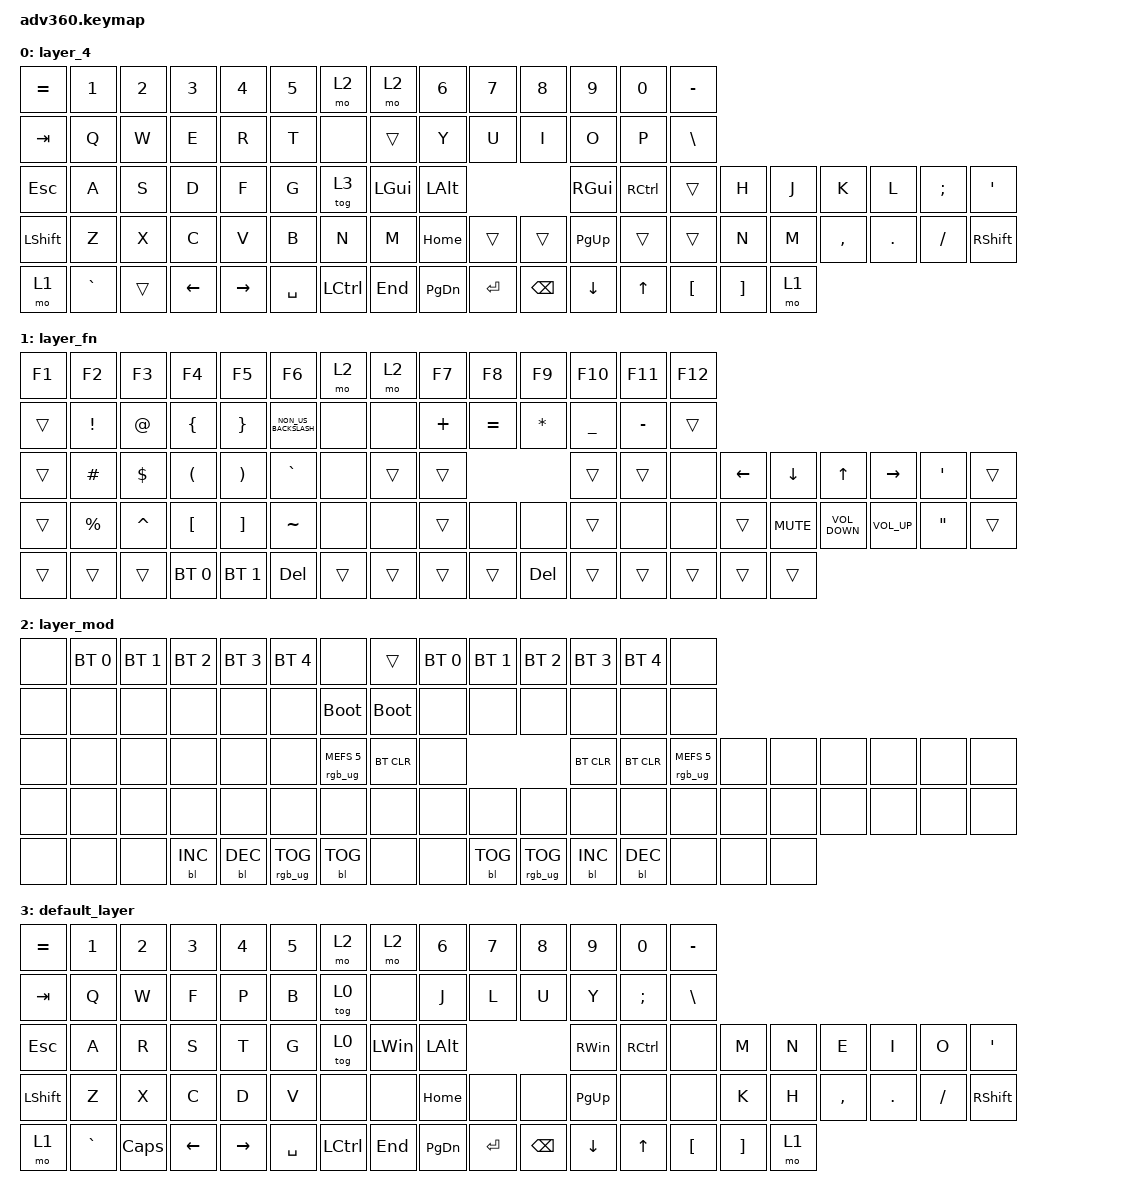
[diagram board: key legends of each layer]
/*
 * Copyright (c) 2020 The ZMK Contributors
 *
 * SPDX-License-Identifier: MIT
 */
/* THIS FILE WAS GENERATED!
 *
 * This file was generated automatically. You may or may not want to
 * edit it directly.
 */

#include <behaviors.dtsi>
#include <dt-bindings/zmk/backlight.h>
#include <dt-bindings/zmk/bt.h>
#include <dt-bindings/zmk/keys.h>
#include <dt-bindings/zmk/rgb.h>

/ {
    behaviors {
        #include "macros.dtsi"

        hm: homerow_mods {
            compatible = "zmk,behavior-hold-tap";
            label = "HOMEROW_MODS";
            #binding-cells = <2>;
            tapping-term-ms = <200>;
            quick_tap_ms = <175>;
            flavor = "tap-preferred";
            bindings = <&kp>, <&kp>;
        };
    };

    combos {
        compatible = "zmk,combos";

        combo_shifts_caps_lock {
            bindings = <&kp CAPSLOCK>;
            key-positions = <46 65>;
            layers = <3>;
            timeout-ms = <200>;
        };
    };

    keymap {
        compatible = "zmk,keymap";

        layer_4 {
            bindings = <
&kp EQUAL  &kp N1     &kp N2  &kp N3    &kp N4     &kp N5     &mo 2      &mo 2     &kp N6     &kp N7   &kp N8    &kp N9     &kp N0     &kp MINUS
&kp TAB    &kp Q      &kp W   &kp E     &kp R      &kp T      &none      &trans    &kp Y      &kp U    &kp I     &kp O      &kp P      &kp BSLH
&kp ESC    &kp A      &kp S   &kp D     &kp F      &kp G      &tog 3     &kp LGUI  &kp LALT                      &kp RGUI   &kp RCTRL  &trans            &kp H              &kp J  &kp K      &kp L    &kp SEMI  &kp SQT
&kp LSHFT  &kp Z      &kp X   &kp C     &kp V      &kp B      &kp N      &kp M     &kp HOME   &trans   &trans    &kp PG_UP  &trans     &trans            &kp N              &kp M  &kp COMMA  &kp DOT  &kp FSLH  &kp RSHFT
&mo 1      &kp GRAVE  &trans  &kp LEFT  &kp RIGHT  &kp SPACE  &kp LCTRL  &kp END   &kp PG_DN  &kp RET  &kp BSPC  &kp DOWN   &kp UP     &kp LEFT_BRACKET  &kp RIGHT_BRACKET  &mo 1
            >;
        };

        layer_fn {
            bindings = <
&kp F1  &kp F2           &kp F3       &kp F4                &kp F5                 &kp F6                &mo 2   &mo 2   &kp F7    &kp F8     &kp F9        &kp F10         &kp F11    &kp F12
&trans  &kp EXCLAMATION  &kp AT_SIGN  &kp LEFT_BRACE        &kp RIGHT_BRACE        &kp NON_US_BACKSLASH  &none   &none   &kp PLUS  &kp EQUAL  &kp ASTERISK  &kp UNDERSCORE  &kp MINUS  &trans
&trans  &kp HASH         &kp DOLLAR   &kp LEFT_PARENTHESIS  &kp RIGHT_PARENTHESIS  &kp GRAVE             &none   &trans  &trans                             &trans          &trans     &none    &kp LEFT  &kp DOWN    &kp UP             &kp RIGHT        &kp SINGLE_QUOTE   &trans
&trans  &kp PERCENT      &kp CARET    &kp LEFT_BRACKET      &kp RIGHT_BRACKET      &kp TILDE             &none   &none   &trans    &none      &none         &trans          &none      &none    &trans    &kp C_MUTE  &kp C_VOLUME_DOWN  &kp C_VOLUME_UP  &kp DOUBLE_QUOTES  &trans
&trans  &trans           &trans       &bt BT_SEL 0          &bt BT_SEL 1           &kp DEL               &trans  &trans  &trans    &trans     &kp DELETE    &trans          &trans     &trans   &trans    &trans
            >;
        };

        layer_mod {
            bindings = <
&none  &bt BT_SEL 0  &bt BT_SEL 1  &bt BT_SEL 2  &bt BT_SEL 3  &bt BT_SEL 4     &none                   &trans       &bt BT_SEL 0  &bt BT_SEL 1  &bt BT_SEL 2     &bt BT_SEL 3  &bt BT_SEL 4  &none
&none  &none         &none         &none         &none         &none            &bootloader             &bootloader  &none         &none         &none            &none         &none         &none
&none  &none         &none         &none         &none         &none            &rgb_ug RGB_MEFS_CMD 5  &bt BT_CLR   &none                                        &bt BT_CLR    &bt BT_CLR    &rgb_ug RGB_MEFS_CMD 5  &none  &none  &none  &none  &none  &none
&none  &none         &none         &none         &none         &none            &none                   &none        &none         &none         &none            &none         &none         &none                   &none  &none  &none  &none  &none  &none
&none  &none         &none         &bl BL_INC    &bl BL_DEC    &rgb_ug RGB_TOG  &bl BL_TOG              &none        &none         &bl BL_TOG    &rgb_ug RGB_TOG  &bl BL_INC    &bl BL_DEC    &none                   &none  &none
            >;
        };

        default_layer {
            bindings = <
&kp EQUAL  &kp N1     &kp N2    &kp N3    &kp N4     &kp N5     &mo 2             &mo 2         &kp N6         &kp N7     &kp N8         &kp N9       &kp N0             &kp MINUS
&kp TAB    &kp Q      &kp W     &kp F     &kp P      &kp B      &tog 0            &none         &kp J          &kp L      &kp U          &kp Y        &kp SEMI           &kp BSLH
&kp ESC    &kp A      &kp R     &kp S     &kp T      &kp G      &tog 0            &kp LEFT_WIN  &kp LALT                                 &kp RWIN     &kp RIGHT_CONTROL  &none      &kp M     &kp N  &kp E      &kp I    &kp O     &kp SQT
&kp LSHFT  &kp Z      &kp X     &kp C     &kp D      &kp V      &none             &none         &kp HOME       &none      &none          &kp PAGE_UP  &none              &none      &kp K     &kp H  &kp COMMA  &kp DOT  &kp FSLH  &kp RSHFT
&mo 1      &kp GRAVE  &kp CAPS  &kp LEFT  &kp RIGHT  &kp SPACE  &kp LEFT_CONTROL  &kp END       &kp PAGE_DOWN  &kp ENTER  &kp BACKSPACE  &kp DOWN     &kp UP             &kp LBKT   &kp RBKT  &mo 1
            >;
        };
    };
};
